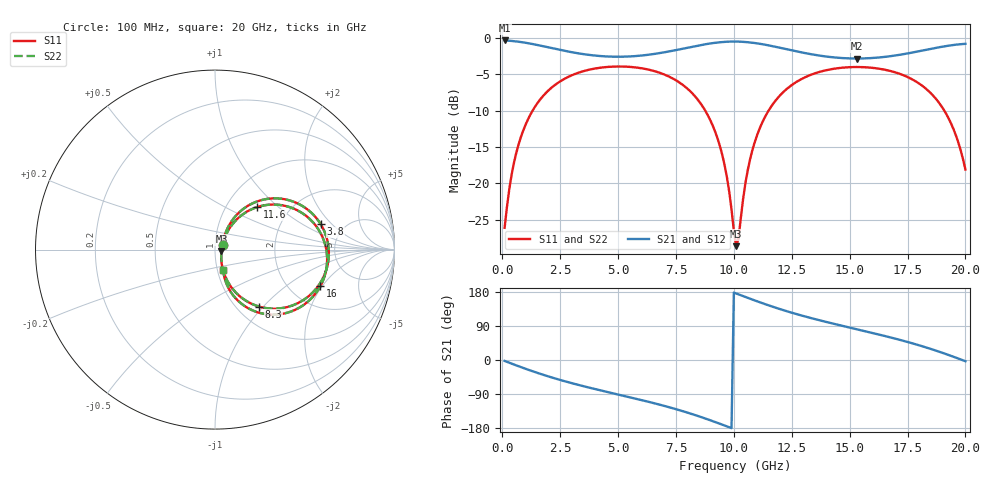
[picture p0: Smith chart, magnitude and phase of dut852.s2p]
! Touchstone file exported from HFSS 2026.1.0
!  File:  C:/ffzhzh/LocalFiles/Ansys_Project_Files/temp_train_TSV_RDL_852_1783269545_39728.aedt
!  Generated:  12:53:14 AM Jul  6, 2026
!  Design:  TSV_RDL
!  Project:  temp_train_TSV_RDL_852_1783269545_39728
! Variables:
!  h_bsmrdl = 2.59um
!  h_ox = 20um
!  h_rdl = 5um
!  h_sub = 68.05um
!  h_tmrdl = 4.33um
!  h_tsv = 68.05um
!  h_via = 3um
!  l_bsmrdl = 796.54um
!  l_sub = 6325.02um
!  l_tmrdl = 855.77um
!  m_sub = 200um
!  pitch = 55um
!  r_tsv = 6.96um
!  s_tmrdl = 10um
!  w_bsmrdl = 10.68um
!  w_sub = 500um
!  w_tmrdl = 26.76um
!  x_tsv_center1 = 869.15um
!  x_tsv_center2 = 1676.37um
!  x_tsv_center3 = 2558.9um
!  x_tsv_center4 = 3366.12um
!  x_tsv_center5 = 4248.65um
!  x_tsv_center6 = 5055.87um
# GHz S MA R 50.000000
! Terminal data exported
! Port[1] = TM_RDL1_1_T1
! Port[2] = TM_RDL5_1_T1
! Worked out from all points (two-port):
!   200 points, 100 MHz to 20 GHz, reference 50 ohm
!   highest |S21| = -0.37 dB at 100 MHz (marker M1); lowest = -2.8 dB at 15.3 GHz (marker M2)
!   |S21| within 3 dB of the highest: start of sweep to end of sweep
!   lowest |S11| = -28.7 dB at 10.1 GHz (marker M3), VSWR 1.08, Z = 53.7 - j0.993 ohm
!   |S11| at or under -10 dB: start of sweep to 1.312 GHz; 8.76 GHz to 11.5 GHz (2.743 GHz wide, 27.1 % of centre); 19.08 GHz to end of sweep
!   |S22| runs from -28.5 to -3.9 dB; largest |S21 - S12| = 1.7e-14
!   S11 on the Smith chart (normalised r, x): 100 MHz: 1.09, +0.06; 3.8 GHz: 3.35, +1.50; 8.3 GHz: 1.25, -0.94; 11.6 GHz: 1.39, +0.74; 16 GHz: 2.89, -1.92; 20 GHz: 1.06, -0.25
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0.1  0.04941 31.2  0.9585 -2.4  0.9585 -2.4  0.04941 31.2
! Gamma 0 0 0 0
! Port Impedance 50 0 50 0
0.5  0.1373 59.6  0.9478 -11.8  0.9478 -11.8  0.1373 59.6
1.2  0.2937 53.9  0.9125 -27.4  0.9125 -27.4  0.2937 53.9
2.2  0.464 37.7  0.845 -47.3  0.845 -47.3  0.464 37.7
3.5  0.5893 17.7  0.7721 -69.1  0.7721 -69.1  0.5893 17.8
3.8  0.6058 13.5  0.7608 -73.6  0.7608 -73.6  0.6057 13.5
5.3  0.6337 -7.0  0.742 -95.3  0.742 -95.3  0.6336 -7.0
6.8  0.5746 -28.2  0.7848 -117.9  0.7848 -117.9  0.5745 -28.2
8.3  0.3997 -52.5  0.874 -144.7  0.874 -144.7  0.3997 -52.4
9.4  0.1796 -68.8  0.9317 -168.3  0.9317 -168.3  0.1797 -68.5
9.7  0.1103 -67.9  0.9394 -175.2  0.9394 -175.2  0.1106 -67.4
10.1  0.03694 -14.5  0.942 175.5  0.942 175.5  0.03779 -14.2
10.7  0.1458 55.9  0.9289 161.7  0.9289 161.7  0.1461 55.6
11.6  0.3344 45.2  0.8803 142.2  0.8803 142.2  0.3345 45.1
13.4  0.5623 16.5  0.7678 109.6  0.7678 109.6  0.5623 16.4
15.3  0.6295 -9.8  0.7204 81.3  0.7204 81.3  0.6295 -9.8
16  0.6211 -19.2  0.7265 71.1  0.7265 71.1  0.6211 -19.2
16.7  0.5944 -28.9  0.7451 60.6  0.7451 60.6  0.5944 -28.9
17.8  0.5077 -45.3  0.7967 42.4  0.7967 42.4  0.5077 -45.2
18.8  0.3681 -61.2  0.8567 23.3  0.8567 23.3  0.368 -61.1
19.5  0.2326 -70.5  0.893 8.3  0.893 8.3  0.2326 -70.4
20  0.1243 -68.6  0.9085 -3.2  0.9085 -3.2  0.1244 -68.4
